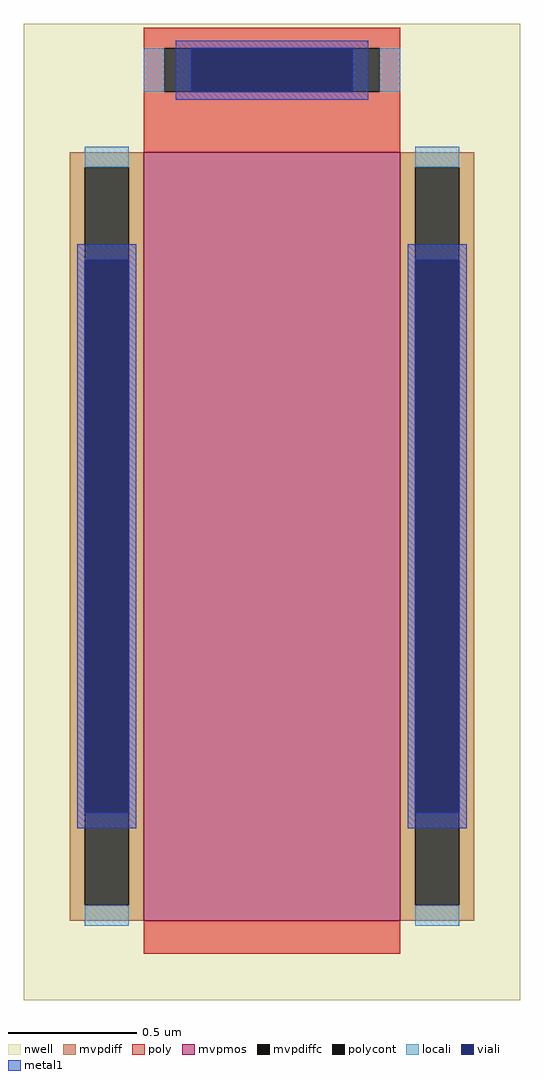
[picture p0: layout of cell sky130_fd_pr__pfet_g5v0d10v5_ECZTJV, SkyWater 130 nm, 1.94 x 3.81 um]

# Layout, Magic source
magic
tech sky130A
magscale 1 2
<< nwell >>
rect -194 -398 194 364
<< mvpmos >>
rect -100 -336 100 264
<< mvpdiff >>
rect -158 252 -100 264
rect -158 -324 -146 252
rect -112 -324 -100 252
rect -158 -336 -100 -324
rect 100 252 158 264
rect 100 -324 112 252
rect 146 -324 158 252
rect 100 -336 158 -324
<< mvpdiffc >>
rect -146 -324 -112 252
rect 112 -324 146 252
<< poly >>
rect -100 345 100 361
rect -100 311 -84 345
rect 84 311 100 345
rect -100 264 100 311
rect -100 -362 100 -336
<< polycont >>
rect -84 311 84 345
<< locali >>
rect -100 311 -84 345
rect 84 311 100 345
rect -146 252 -112 268
rect -146 -340 -112 -324
rect 112 252 146 268
rect 112 -340 146 -324
<< viali >>
rect -63 311 63 345
rect -146 -252 -112 180
rect 112 -252 146 180
<< metal1 >>
rect -75 345 75 351
rect -75 311 -63 345
rect 63 311 75 345
rect -75 305 75 311
rect -152 180 -106 192
rect -152 -252 -146 180
rect -112 -252 -106 180
rect -152 -264 -106 -252
rect 106 180 152 192
rect 106 -252 112 180
rect 146 -252 152 180
rect 106 -264 152 -252
<< properties >>
string gencell sky130_fd_pr__pfet_g5v0d10v5
string library sky130
string parameters w 3 l 1 m 1 nf 1 diffcov 100 polycov 100 guard 0 glc 1 grc 1 gtc 1 gbc 1 tbcov 100 rlcov 100 topc 1 botc 0 poverlap 0 doverlap 1 lmin 0.50 wmin 0.42 compatible {sky130_fd_pr__pfet_01v8  sky130_fd_pr__pfet_01v8_lvt sky130_fd_pr__pfet_01v8_hvt  sky130_fd_pr__pfet_g5v0d10v5} full_metal 1 viasrc 75 viadrn 75 viagate 75 viagb 0 viagr 0 viagl 0 viagt 0
<< end >>
